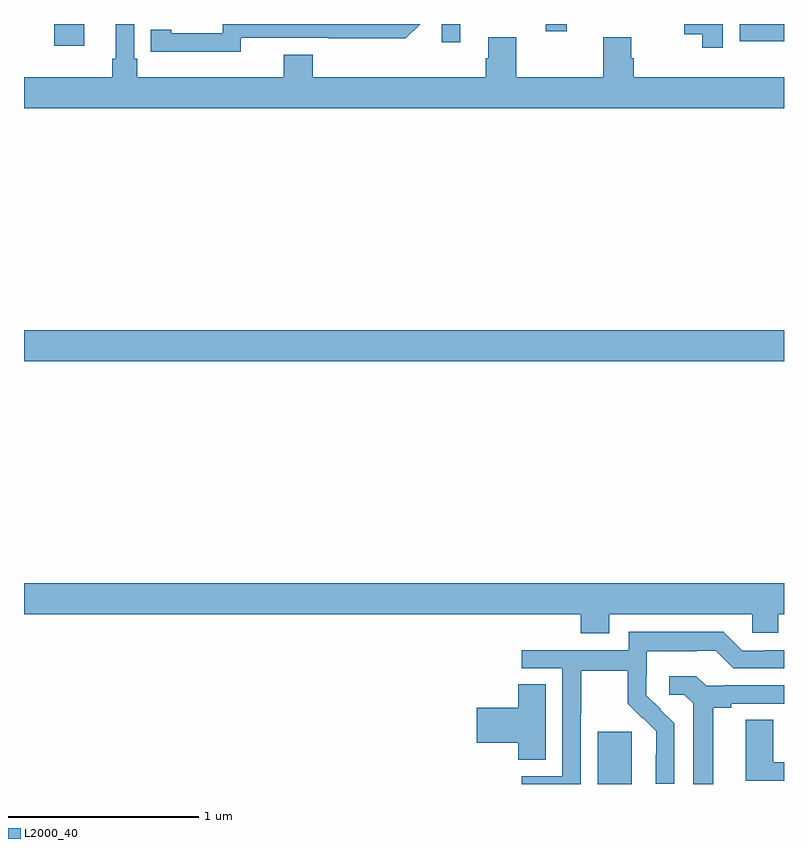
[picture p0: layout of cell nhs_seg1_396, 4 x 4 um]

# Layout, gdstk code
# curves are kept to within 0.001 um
import gdstk
lib = gdstk.Library(unit=1e-6, precision=1e-09)
def R(c, l, rs):  # rectangles x0, y0, x1, y1
    for r in rs: c.add(gdstk.rectangle(r[:2], r[2:], *l))
def P(c, l, *ps):  # polygons
    for p in ps: c.add(gdstk.Polygon(p, *l))
L2000_40 = (2000, 40)

nhs_seg1_396 = lib.new_cell('nhs_seg1_396')
R(nhs_seg1_396, L2000_40, [(136.019,524.199,136.198,524.475), (133,526.424,137,526.588), (133.16,528.084,133.318,528.199), (135.198,528.102,135.295,528.199), (136.767,528.108,137,528.199), (135.746,528.162,135.857,528.199)])
P(nhs_seg1_396, L2000_40, [(137,527.92),(136.208,527.92),(136.208,528.018),(136.195,528.018),(136.195,528.128),(136.048,528.128),(136.048,527.92),(135.591,527.92),(135.591,528.128),(135.443,528.128),(135.443,528.018),(135.431,528.018),(135.431,527.92),(134.519,527.92),(134.519,528.037),(134.366,528.037),(134.366,527.92),(133.595,527.92),(133.595,528.016),(133.581,528.016),(133.581,528.199),(133.484,528.199),(133.484,528.016),(133.465,528.016),(133.465,527.92),(133,527.92),(133,527.756),(137,527.756)],
  [(134.142,528.126),(135.01,528.125),(135.085,528.199),(134.046,528.199),(134.046,528.15),(133.774,528.15),(133.774,528.17),(133.666,528.17),(133.666,528.054),(134.142,528.053)],
  [(136.677,528.199),(136.476,528.199),(136.476,528.145),(136.569,528.145),(136.569,528.075),(136.677,528.075)],
  [(136.081,525.092),(136.833,525.092),(136.833,524.994),(136.971,524.994),(136.971,525.092),(137,525.092),(137,525.256),(133,525.256),(133,525.092),(135.929,525.092),(135.929,524.993),(136.081,524.993)],
  [(135.93,524.572),(135.933,524.572),(135.933,524.796),(136.177,524.796),(136.177,524.621),(136.254,524.544),(136.257,524.547),(136.328,524.477),(136.328,524.354),(136.326,524.354),(136.326,524.2),(136.422,524.2),(136.422,524.518),(136.276,524.666),(136.276,524.763),(136.278,524.763),(136.278,524.897),(136.541,524.897),(136.541,524.901),(136.641,524.901),(136.734,524.808),(137,524.808),(137,524.904),(136.895,524.904),(136.895,524.901),(136.779,524.901),(136.679,525.001),(136.182,525.001),(136.182,524.904),(135.621,524.904),(135.621,524.808),(135.834,524.808),(135.834,524.241),(135.621,524.241),(135.621,524.199),(135.93,524.199)],
  [(136.627,524.6),(136.723,524.6),(136.723,524.622),(137,524.622),(137,524.718),(136.684,524.718),(136.684,524.715),(136.59,524.715),(136.538,524.767),(136.395,524.767),(136.395,524.67),(136.476,524.67),(136.523,524.623),(136.523,524.199),(136.627,524.199)],
  [(135.745,524.723),(135.602,524.723),(135.602,524.6),(135.384,524.6),(135.384,524.417),(135.602,524.417),(135.602,524.326),(135.745,524.326)],
  [(137,524.313),(136.944,524.313),(136.944,524.537),(136.799,524.537),(136.799,524.217),(137,524.217)])

lib.write_gds('nhs_seg1_396.gds')
